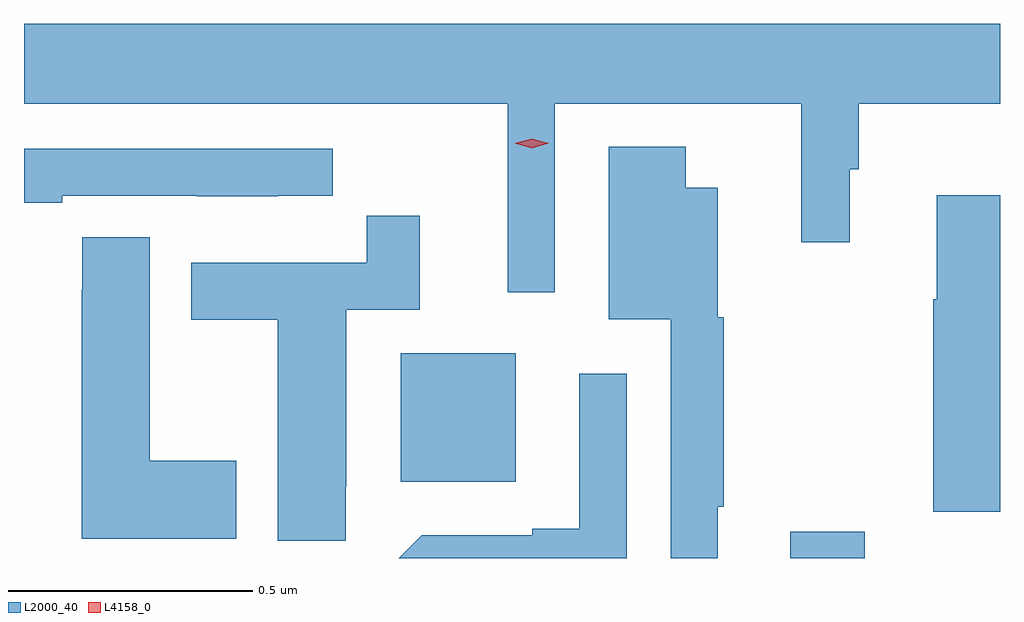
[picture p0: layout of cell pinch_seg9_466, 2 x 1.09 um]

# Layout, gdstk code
import gdstk
lib = gdstk.Library(unit=1e-6, precision=1e-09)
def R(c, l, rs):  # rectangles x0, y0, x1, y1
    for r in rs: c.add(gdstk.rectangle(r[:2], r[2:], *l))
def P(c, l, *ps):  # polygons
    for p in ps: c.add(gdstk.Polygon(p, *l))
L2000_40 = (2000, 40)
L4158_0 = (4158, 0)

pinch_seg9_466 = lib.new_cell('pinch_seg9_466')
R(pinch_seg9_466, L2000_40, [(222.77,1188.829,222.923,1188.883), (221.972,1188.986,222.208,1189.249)])
P(pinch_seg9_466, L2000_40, [(222.288,1189.76),(222.793,1189.76),(222.793,1189.476),(222.892,1189.476),(222.892,1189.626),(222.911,1189.626),(222.911,1189.76),(223.2,1189.76),(223.2,1189.924),(221.2,1189.924),(221.2,1189.76),(222.191,1189.76),(222.191,1189.374),(222.288,1189.374)],
  [(222.622,1188.934),(222.634,1188.934),(222.634,1189.323),(222.622,1189.323),(222.622,1189.588),(222.556,1189.588),(222.556,1189.672),(222.398,1189.672),(222.398,1189.319),(222.525,1189.319),(222.525,1188.829),(222.622,1188.829)],
  [(221.278,1189.572),(221.554,1189.572),(221.554,1189.571),(221.72,1189.571),(221.72,1189.572),(221.833,1189.572),(221.833,1189.668),(221.2,1189.668),(221.2,1189.557),(221.278,1189.557)],
  [(223.2,1189.573),(223.07,1189.573),(223.07,1189.36),(223.063,1189.36),(223.063,1188.924),(223.2,1188.924)],
  [(221.859,1188.976),(221.86,1188.976),(221.86,1189.338),(222.011,1189.338),(222.011,1189.531),(221.902,1189.531),(221.902,1189.434),(221.543,1189.434),(221.543,1189.318),(221.72,1189.318),(221.72,1188.865),(221.859,1188.865)],
  [(221.635,1189.029),(221.458,1189.029),(221.458,1189.487),(221.319,1189.487),(221.319,1189.379),(221.318,1189.379),(221.318,1188.869),(221.635,1188.869)],
  [(222.435,1189.207),(222.338,1189.207),(222.338,1188.889),(222.242,1188.889),(222.242,1188.876),(222.015,1188.876),(221.968,1188.829),(222.435,1188.829)])
P(pinch_seg9_466, L4158_0, [(222.24,1189.669),(222.206,1189.679),(222.206,1189.679),(222.206,1189.679),(222.24,1189.689),(222.275,1189.679),(222.275,1189.679),(222.275,1189.679)])

lib.write_gds('pinch_seg9_466.gds')
